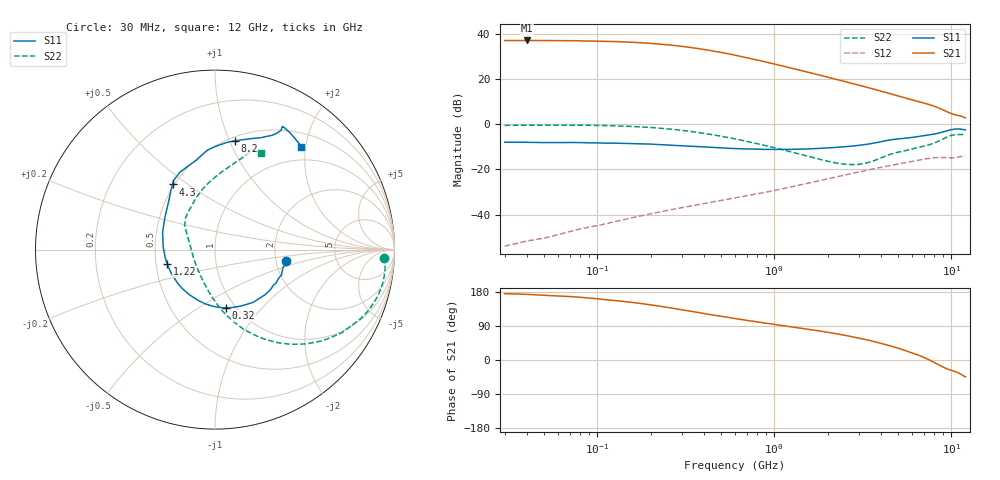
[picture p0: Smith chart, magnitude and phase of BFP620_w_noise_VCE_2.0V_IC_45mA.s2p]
! Infineon Technologies  Discrete & RF Semiconductors
! BFP620
! VCE =  2.0 V,  IC =  45 mA
! Common Emitter S-Parameters:  Nov 2015
# GHz  S  MA  R  50
!  f  S11  S21  S12  S22
! GHz  MAG  ANG  MAG  ANG  MAG  ANG  MAG  ANG
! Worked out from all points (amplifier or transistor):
!   239 points, 30 MHz to 12 GHz, reference 50 ohm
!   highest |S21| = 37.1 dB at 40 MHz (marker M1)
!   |S21| within 3 dB of that: start of sweep to 329.3 MHz
!   unconditionally stable (mu >= 1): 2.1 GHz to end of sweep
!   at 300 MHz: K = 0.45, MSG = 35.7 dB, |S12| = -37.0 dB
!   at 1.88 GHz: K = 0.99, MSG = 23.0 dB, |S12| = -24.7 dB
!   at 12 GHz: K = 1.09, MAG = 6.7 dB, |S12| = -14.2 dB
!   lowest NFmin = 1.42 dB at 450 MHz
!   S11 on the Smith chart (normalised r, x): 30 MHz: 2.27, -0.34; 320 MHz: 0.90, -0.66; 1.22 GHz: 0.57, -0.10; 4.3 GHz: 0.49, +0.44; 8.2 GHz: 0.54, +1.05; 12 GHz: 0.73, +1.92
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0.03  0.3995 -9.2  71 175.1  0.002 92.5  0.9434 -2.7
0.04  0.3979 -12.3  71.26 173.3  0.0026 87.8  0.9505 -4.7
0.05  0.3917 -14.7  70.95 170.5  0.003 85.5  0.9538 -6.8
0.07  0.3965 -20.9  70.67 167.4  0.0042 85.9  0.954 -10.8
0.085  0.3892 -24.6  69.79 164.5  0.005 81.4  0.9481 -13.7
0.115  0.3807 -33.1  68.24 158.9  0.0064 79.3  0.9296 -19.3
0.15  0.3752 -42.2  65.65 153.1  0.0082 76.8  0.8991 -25.3
0.19  0.3641 -51.6  62.27 147.0  0.01 74.5  0.855 -31.5
0.24  0.3488 -62.9  57.94 140.0  0.012 72.0  0.799 -38.6
0.32  0.3299 -79.2  51.2 130.5  0.0149 69.1  0.7091 -47.9
0.4  0.3153 -92.8  45.12 122.7  0.0175 67.5  0.6277 -55.8
0.5  0.2991 -107.3  38.71 115.2  0.0204 66.0  0.5422 -63.6
0.6  0.2894 -119.2  33.67 109.3  0.0233 65.3  0.4733 -70.1
0.8  0.2805 -137.5  26.32 100.4  0.0287 64.5  0.3706 -80.2
1  0.2772 -151.4  21.48 94.0  0.0342 63.6  0.3014 -88.2
1.22  0.2774 -163.0  17.79 88.4  0.0403 62.5  0.2482 -96.3
1.64  0.2861 179.8  13.38 79.6  0.0518 59.7  0.1847 -111.7
2.6  0.3206 152.5  8.448 63.7  0.0775 51.1  0.1289 -155.7
4.3  0.4333 123.1  4.99 40.1  0.1173 33.5  0.2 145.2
4.5  0.4492 120.9  4.74 37.3  0.1216 31.6  0.215 141.9
8.2  0.6159 79.5  2.411 -9.0  0.1818 -7.7  0.3994 90.7
12  0.7492 50.0  1.383 -44.6  0.1942 -38.6  0.5992 64.5
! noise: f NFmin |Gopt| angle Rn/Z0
0.45  1.42  0.26  -165  0.1
0.9  1.43  0.29  -153  0.1
1.9  1.44  0.33  -138  0.12
2.4  1.45  0.33  -136  0.13
3.5  1.5  0.39  -104  0.21
5.5  1.79  0.41  -85  0.29
10  2.1  0.65  -43  1.14
